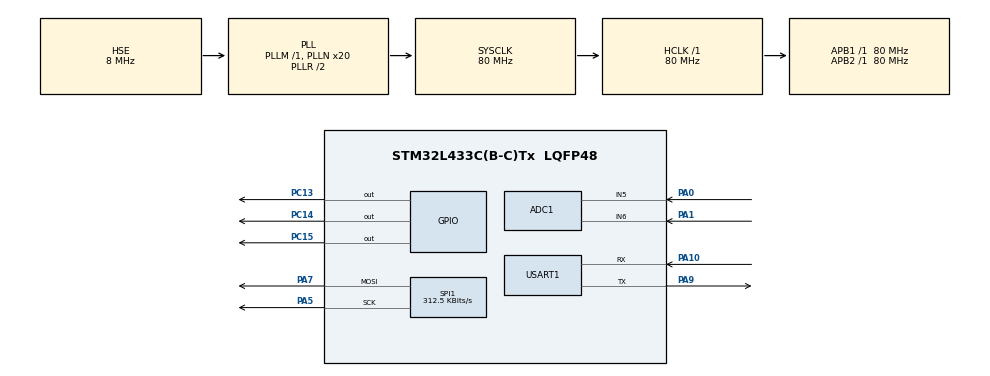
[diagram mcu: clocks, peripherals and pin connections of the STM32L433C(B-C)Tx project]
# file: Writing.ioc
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ADC1.Channel-0\#ChannelRegularConversion=ADC_CHANNEL_5
ADC1.Channel-1\#ChannelRegularConversion=ADC_CHANNEL_6
ADC1.ContinuousConvMode=DISABLE
ADC1.DMAContinuousRequests=ENABLE
ADC1.DiscontinuousConvMode=DISABLE
ADC1.ExternalTrigConv=ADC_EXTERNALTRIG_T6_TRGO
ADC1.NbrOfConversion=2
ADC1.NbrOfConversionFlag=1
ADC1.OffsetNumber-0\#ChannelRegularConversion=ADC_OFFSET_NONE
ADC1.OffsetNumber-1\#ChannelRegularConversion=ADC_OFFSET_NONE
ADC1.OversamplingMode=ENABLE
ADC1.Rank-0\#ChannelRegularConversion=1
ADC1.Rank-1\#ChannelRegularConversion=2
ADC1.Ratio=ADC_OVERSAMPLING_RATIO_256
ADC1.RightBitShift=ADC_RIGHTBITSHIFT_4
ADC1.SamplingTime-0\#ChannelRegularConversion=ADC_SAMPLETIME_2CYCLES_5
ADC1.SamplingTime-1\#ChannelRegularConversion=ADC_SAMPLETIME_2CYCLES_5
ADC1.master=1
Dma.ADC1.0.Direction=DMA_PERIPH_TO_MEMORY
Dma.ADC1.0.Instance=DMA1_Channel1
Dma.ADC1.0.MemDataAlignment=DMA_MDATAALIGN_HALFWORD
Dma.ADC1.0.MemInc=DMA_MINC_ENABLE
Dma.ADC1.0.Mode=DMA_CIRCULAR
Dma.ADC1.0.PeriphDataAlignment=DMA_PDATAALIGN_HALFWORD
Dma.ADC1.0.PeriphInc=DMA_PINC_DISABLE
Dma.ADC1.0.Priority=DMA_PRIORITY_LOW
Dma.Request0=ADC1
Mcu.Family=STM32L4
Mcu.Name=STM32L433C(B-C)Tx
Mcu.Package=LQFP48
NVIC.DMA1_Channel1_IRQn=true\:0\:0\:false\:false\:true\:false\:true
NVIC.PriorityGroup=NVIC_PRIORITYGROUP_4
PA0.Signal=ADCx_IN5
PA1.Signal=ADCx_IN6
PA10.Mode=Asynchronous
PA10.Signal=USART1_RX
PA13\ (JTMS-SWDIO).Mode=JTAG_4_pins
PA13\ (JTMS-SWDIO).Signal=SYS_JTMS-SWDIO
PA14\ (JTCK-SWCLK).Mode=JTAG_4_pins
PA14\ (JTCK-SWCLK).Signal=SYS_JTCK-SWCLK
PA15\ (JTDI).Mode=JTAG_4_pins
PA15\ (JTDI).Signal=SYS_JTDI
PA5.Mode=TX_Only_Simplex_Unidirect_Master
PA5.Signal=SPI1_SCK
PA7.Mode=TX_Only_Simplex_Unidirect_Master
PA7.Signal=SPI1_MOSI
PA9.Mode=Asynchronous
PA9.Signal=USART1_TX
PB3\ (JTDO-TRACESWO).Mode=JTAG_4_pins
PB3\ (JTDO-TRACESWO).Signal=SYS_JTDO-SWO
PC13.Signal=GPIO_Output
PC14-OSC32_IN\ (PC14).Signal=GPIO_Output
PC15-OSC32_OUT\ (PC15).Signal=GPIO_Output
PH0-OSC_IN\ (PH0).Mode=HSE-External-Oscillator
PH0-OSC_IN\ (PH0).Signal=RCC_OSC_IN
PH1-OSC_OUT\ (PH1).Mode=HSE-External-Oscillator
PH1-OSC_OUT\ (PH1).Signal=RCC_OSC_OUT
ProjectManager.HeapSize=0x200
ProjectManager.StackSize=0x400
ProjectManager.TargetToolchain=MDK-ARM V5
RCC.ADCFreq_Value=32000000
RCC.AHBFreq_Value=80000000
RCC.APB1Freq_Value=80000000
RCC.APB1TimFreq_Value=80000000
RCC.APB2Freq_Value=80000000
RCC.APB2TimFreq_Value=80000000
RCC.CortexFreq_Value=80000000
RCC.HCLKFreq_Value=80000000
RCC.HSE_VALUE=8000000
RCC.HSI48_VALUE=48000000
RCC.HSI_VALUE=16000000
RCC.LSE_VALUE=32768
RCC.MSI_VALUE=4000000
RCC.PLLN=20
RCC.PLLSourceVirtual=RCC_PLLSOURCE_HSE
RCC.SYSCLKFreq_VALUE=80000000
RCC.SYSCLKSource=RCC_SYSCLKSOURCE_PLLCLK
RCC.USBFreq_Value=32000000
RCC.VCOOutputFreq_Value=160000000
SH.ADCx_IN5.0=ADC1_IN5,IN5-Single-Ended
SH.ADCx_IN6.0=ADC1_IN6,IN6-Single-Ended
SPI1.BaudRatePrescaler=SPI_BAUDRATEPRESCALER_256
SPI1.CalculateBaudRate=312.5 KBits/s
SPI1.DataSize=SPI_DATASIZE_8BIT
SPI1.Direction=SPI_DIRECTION_2LINES
SPI1.Mode=SPI_MODE_MASTER
SPI1.VirtualType=VM_MASTER
TIM6.AutoReloadPreload=TIM_AUTORELOAD_PRELOAD_ENABLE
TIM6.Period=1000-1
TIM6.Prescaler=80-1
TIM6.TIM_MasterOutputTrigger=TIM_TRGO_UPDATE
USART1.VirtualMode-Asynchronous=VM_ASYNC
VP_TIM6_VS_ClockSourceINT.Mode=Enable_Timer
board=custom

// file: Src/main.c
/* USER CODE BEGIN Header */
/**
  ******************************************************************************
  * @file           : main.c
  * @brief          : Main program body
  ******************************************************************************
  ** This notice applies to any and all portions of this file
  * that are not between comment pairs USER CODE BEGIN and
  * USER CODE END. Other portions of this file, whether
  * inserted by the user or by software development tools
  * are owned by their respective copyright owners.
  *
  * COPYRIGHT(c) 2018 STMicroelectronics
  *
  * Redistribution and use in source and binary forms, with or without modification,
  * are permitted provided that the following conditions are met:
  *   1. Redistributions of source code must retain the above copyright notice,
  *      this list of conditions and the following disclaimer.
  *   2. Redistributions in binary form must reproduce the above copyright notice,
  *      this list of conditions and the following disclaimer in the documentation
  *      and/or other materials provided with the distribution.
  *   3. Neither the name of STMicroelectronics nor the names of its contributors
  *      may be used to endorse or promote products derived from this software
  *      without specific prior written permission.
  *
  * THIS SOFTWARE IS PROVIDED BY THE COPYRIGHT HOLDERS AND CONTRIBUTORS "AS IS"
  * AND ANY EXPRESS OR IMPLIED WARRANTIES, INCLUDING, BUT NOT LIMITED TO, THE
  * IMPLIED WARRANTIES OF MERCHANTABILITY AND FITNESS FOR A PARTICULAR PURPOSE ARE
  * DISCLAIMED. IN NO EVENT SHALL THE COPYRIGHT HOLDER OR CONTRIBUTORS BE LIABLE
  * FOR ANY DIRECT, INDIRECT, INCIDENTAL, SPECIAL, EXEMPLARY, OR CONSEQUENTIAL
  * DAMAGES (INCLUDING, BUT NOT LIMITED TO, PROCUREMENT OF SUBSTITUTE GOODS OR
  * SERVICES; LOSS OF USE, DATA, OR PROFITS; OR BUSINESS INTERRUPTION) HOWEVER
  * CAUSED AND ON ANY THEORY OF LIABILITY, WHETHER IN CONTRACT, STRICT LIABILITY,
  * OR TORT (INCLUDING NEGLIGENCE OR OTHERWISE) ARISING IN ANY WAY OUT OF THE USE
  * OF THIS SOFTWARE, EVEN IF ADVISED OF THE POSSIBILITY OF SUCH DAMAGE.
  *
  ******************************************************************************
  */
/* USER CODE END Header */

#include "main.h"
#include "adc.h"
#include "dma.h"
#include "spi.h"
#include "tim.h"
#include "usart.h"
#include "gpio.h"

/* USER CODE BEGIN Includes */
#include "12864.h"
/* USER CODE END Includes */

void SystemClock_Config(void);
/* USER CODE BEGIN PFP */
u32 Ch_1, Ch_2 = 0;
/* USER CODE END PFP */

/* USER CODE BEGIN 0 */
void SysTick_interrupt()
{
    static u16 i;
    if(i == 20)
    {
//		if(ReadKey(1))
//			key1=1;
//		if(ReadKey(2))
//			key2=1;

        i = 0;
    }
    i++;
}

void Average()
{
    Ch_1 = 0;
    Ch_2 = 0;
    for(int i = 0; i < 50; i++)
    {
        Ch_1 += uhADCxConvertedValue[i * 2];
        Ch_2 += uhADCxConvertedValue[i * 2 + 1];
    }
    Ch_1 = Ch_1 / 50;
    Ch_2 = Ch_2 / 50;
}

/* USER CODE END 0 */

int main(void)
{

    /* MCU Configuration--------------------------------------------------------*/

    /* Reset of all peripherals, Initializes the Flash interface and the Systick. */
    HAL_Init();

    /* Configure the system clock */
    SystemClock_Config();

    /* Initialize all configured peripherals */
    MX_GPIO_Init();
    MX_DMA_Init();
    MX_ADC1_Init();
    MX_USART1_UART_Init();
    MX_TIM6_Init();
    MX_SPI1_Init();
    /* USER CODE BEGIN 2 */
    ADC_Tim6_START();
    LCD_Initial();
    /* USER CODE END 2 */

    /* Infinite loop */
    while(1)
    {

        /* USER CODE BEGIN 3 */
//        printf("1");
		u8 ch[1] = {1};
		HAL_UART_Transmit(&huart1, ch, 1, 0xFFFF);

//        LCD_Display_Number_Format_8x16(1, 1, 1234, 5);

    }
    /* USER CODE END 3 */
}

void SystemClock_Config(void)
{
    RCC_OscInitTypeDef RCC_OscInitStruct = {0};
    RCC_ClkInitTypeDef RCC_ClkInitStruct = {0};
    RCC_PeriphCLKInitTypeDef PeriphClkInit = {0};

    /** Initializes the CPU, AHB and APB busses clocks
    */
    RCC_OscInitStruct.OscillatorType = RCC_OSCILLATORTYPE_HSE;
    RCC_OscInitStruct.HSEState = RCC_HSE_ON;
    RCC_OscInitStruct.PLL.PLLState = RCC_PLL_ON;
    RCC_OscInitStruct.PLL.PLLSource = RCC_PLLSOURCE_HSE;
    RCC_OscInitStruct.PLL.PLLM = 1;
    RCC_OscInitStruct.PLL.PLLN = 20;
    RCC_OscInitStruct.PLL.PLLP = RCC_PLLP_DIV7;
    RCC_OscInitStruct.PLL.PLLQ = RCC_PLLQ_DIV2;
    RCC_OscInitStruct.PLL.PLLR = RCC_PLLR_DIV2;
    if(HAL_RCC_OscConfig(&RCC_OscInitStruct) != HAL_OK)
    {
        Error_Handler();
    }
    /** Initializes the CPU, AHB and APB busses clocks
    */
    RCC_ClkInitStruct.ClockType = RCC_CLOCKTYPE_HCLK | RCC_CLOCKTYPE_SYSCLK
                                  | RCC_CLOCKTYPE_PCLK1 | RCC_CLOCKTYPE_PCLK2;
    RCC_ClkInitStruct.SYSCLKSource = RCC_SYSCLKSOURCE_PLLCLK;
    RCC_ClkInitStruct.AHBCLKDivider = RCC_SYSCLK_DIV1;
    RCC_ClkInitStruct.APB1CLKDivider = RCC_HCLK_DIV1;
    RCC_ClkInitStruct.APB2CLKDivider = RCC_HCLK_DIV1;

    if(HAL_RCC_ClockConfig(&RCC_ClkInitStruct, FLASH_LATENCY_4) != HAL_OK)
    {
        Error_Handler();
    }
    PeriphClkInit.PeriphClockSelection = RCC_PERIPHCLK_USART1 | RCC_PERIPHCLK_ADC;
    PeriphClkInit.Usart1ClockSelection = RCC_USART1CLKSOURCE_PCLK2;
    PeriphClkInit.AdcClockSelection = RCC_ADCCLKSOURCE_PLLSAI1;
    PeriphClkInit.PLLSAI1.PLLSAI1Source = RCC_PLLSOURCE_HSE;
    PeriphClkInit.PLLSAI1.PLLSAI1M = 1;
    PeriphClkInit.PLLSAI1.PLLSAI1N = 8;
    PeriphClkInit.PLLSAI1.PLLSAI1P = RCC_PLLP_DIV7;
    PeriphClkInit.PLLSAI1.PLLSAI1Q = RCC_PLLQ_DIV2;
    PeriphClkInit.PLLSAI1.PLLSAI1R = RCC_PLLR_DIV2;
    PeriphClkInit.PLLSAI1.PLLSAI1ClockOut = RCC_PLLSAI1_ADC1CLK;
    if(HAL_RCCEx_PeriphCLKConfig(&PeriphClkInit) != HAL_OK)
    {
        Error_Handler();
    }
    /** Configure the main internal regulator output voltage
    */
    if(HAL_PWREx_ControlVoltageScaling(PWR_REGULATOR_VOLTAGE_SCALE1) != HAL_OK)
    {
        Error_Handler();
    }
}

void Error_Handler(void)
{
}

/************************ (C) COPYRIGHT STMicroelectronics *****END OF FILE****/
